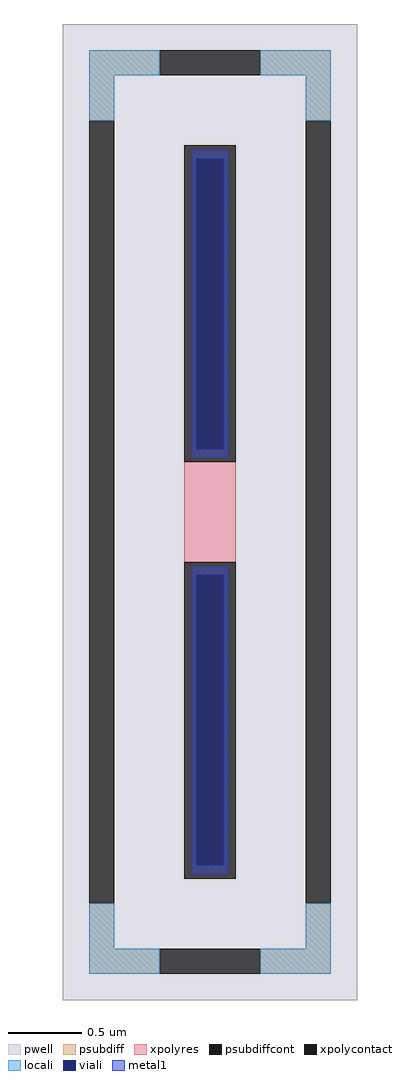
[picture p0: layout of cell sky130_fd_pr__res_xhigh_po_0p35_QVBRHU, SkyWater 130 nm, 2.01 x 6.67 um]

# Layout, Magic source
magic
tech sky130A
magscale 1 2
<< pwell >>
rect -201 -667 201 667
<< psubdiff >>
rect -165 597 -69 631
rect 69 597 165 631
rect -165 535 -131 597
rect 131 535 165 597
rect -165 -597 -131 -535
rect 131 -597 165 -535
rect -165 -631 -69 -597
rect 69 -631 165 -597
<< psubdiffcont >>
rect -69 597 69 631
rect -165 -535 -131 535
rect 131 -535 165 535
rect -69 -631 69 -597
<< xpolycontact >>
rect -35 69 35 501
rect -35 -501 35 -69
<< xpolyres >>
rect -35 -69 35 69
<< locali >>
rect -165 597 -69 631
rect 69 597 165 631
rect -165 535 -131 597
rect 131 535 165 597
rect -165 -597 -131 -535
rect 131 -597 165 -535
rect -165 -631 -69 -597
rect 69 -631 165 -597
<< viali >>
rect -19 86 19 483
rect -19 -483 19 -86
<< metal1 >>
rect -25 483 25 495
rect -25 86 -19 483
rect 19 86 25 483
rect -25 74 25 86
rect -25 -86 25 -74
rect -25 -483 -19 -86
rect 19 -483 25 -86
rect -25 -495 25 -483
<< properties >>
string FIXED_BBOX -148 -614 148 614
string gencell sky130_fd_pr__res_xhigh_po_0p35
string library sky130
string parameters w 0.350 l 0.846 m 1 nx 1 wmin 0.350 lmin 0.50 rho 2000 val 5.909k dummy 0 dw 0.0 term 188.2 sterm 0.0 caplen 0 wmax 0.350 guard 1 glc 1 grc 1 gtc 1 gbc 1 compatible {sky130_fd_pr__res_xhigh_po_0p35  sky130_fd_pr__res_xhigh_po_0p69 sky130_fd_pr__res_xhigh_po_1p41  sky130_fd_pr__res_xhigh_po_2p85 sky130_fd_pr__res_xhigh_po_5p73} snake 0 full_metal 1 n_guard 0 hv_guard 0 vias 1 viagb 0 viagt 0 viagl 0 viagr 0
<< end >>
